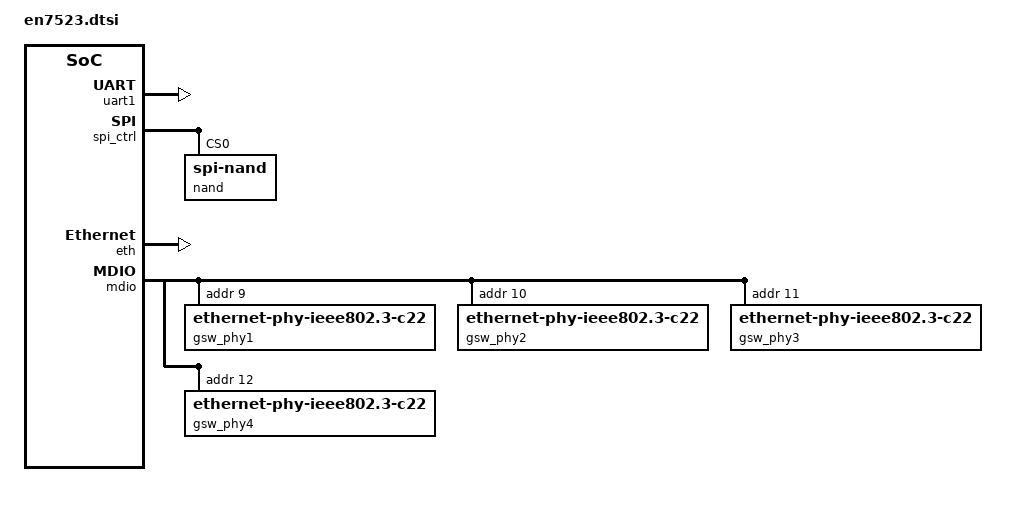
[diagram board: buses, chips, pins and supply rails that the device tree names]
// SPDX-License-Identifier: (GPL-2.0-only OR BSD-2-Clause)

#include <dt-bindings/interrupt-controller/irq.h>
#include <dt-bindings/interrupt-controller/arm-gic.h>
#include <dt-bindings/gpio/gpio.h>
#include <dt-bindings/clock/en7523-clk.h>
#include <dt-bindings/leds/common.h>

/ {
	interrupt-parent = <&gic>;
	#address-cells = <1>;
	#size-cells = <1>;

	reserved-memory {
		#address-cells = <1>;
		#size-cells = <1>;
		ranges;

		npu_binary@84000000 {
			no-map;
			reg = <0x84000000 0xA00000>;
		};

		npu_flag@84B0000 {
			no-map;
			reg = <0x84B00000 0x100000>;
		};

		npu_pkt@85000000 {
			no-map;
			reg = <0x85000000 0x1A00000>;
		};

		npu_phyaddr@86B00000 {
			no-map;
			reg = <0x86B00000 0x100000>;
		};

		npu_rxdesc@86D00000 {
			no-map;
			reg = <0x86D00000 0x100000>;
		};
	};

	psci {
		compatible = "arm,psci-0.2";
		method = "smc";
	};

	cpus {
		#address-cells = <1>;
		#size-cells = <0>;

		cpu-map {
			cluster0 {
				core0 {
					cpu = <&cpu0>;
				};
				core1 {
					cpu = <&cpu1>;
				};
			};
		};

		cpu0: cpu@0 {
			device_type = "cpu";
			compatible = "arm,cortex-a53";
			reg = <0x0>;
			enable-method = "psci";
			clock-frequency = <80000000>;
			next-level-cache = <&L2_0>;
		};

		cpu1: cpu@1 {
			device_type = "cpu";
			compatible = "arm,cortex-a53";
			reg = <0x1>;
			enable-method = "psci";
			clock-frequency = <80000000>;
			next-level-cache = <&L2_0>;
		};

		L2_0: l2-cache0 {
			compatible = "cache";
		};
	};

 	scu: system-controller@1fa20000 {
 		compatible = "airoha,en7523-scu";
 		reg = <0x1fa20000 0x4>,
 		      <0x1fb00000 0x4>;
 		#clock-cells = <1>;
 	};

	gic: interrupt-controller@9000000 {
		compatible = "arm,gic-v3";
		interrupt-controller;
		#interrupt-cells = <3>;
		#address-cells = <1>;
		#size-cells = <1>;
		reg = <0x09000000 0x20000>,
		      <0x09080000 0x80000>,
		      <0x09400000 0x2000>,
		      <0x09500000 0x2000>,
		      <0x09600000 0x20000>;
		interrupts = <GIC_PPI 9 IRQ_TYPE_LEVEL_LOW>;
	};

	timer {
		compatible = "arm,armv8-timer";
		interrupt-parent = <&gic>;
		interrupts = <GIC_PPI 13 IRQ_TYPE_LEVEL_LOW>,
			     <GIC_PPI 14 IRQ_TYPE_LEVEL_LOW>,
			     <GIC_PPI 11 IRQ_TYPE_LEVEL_LOW>,
			     <GIC_PPI 10 IRQ_TYPE_LEVEL_LOW>;
	};

	uart1: serial@1fbf0000 {
		compatible = "ns16550";
		reg = <0x1fbf0000 0x30>;
		reg-io-width = <4>;
		reg-shift = <2>;
		interrupts = <GIC_SPI 18 IRQ_TYPE_LEVEL_HIGH>;
		clock-frequency = <1843200>;
		status = "okay";
	};

	gpio0: gpio@1fbf0200 {
		compatible = "airoha,en7523-gpio";
		reg = <0x1fbf0204 0x4>,
		      <0x1fbf0200 0x4>,
		      <0x1fbf0220 0x4>,
		      <0x1fbf0214 0x4>;
		gpio-controller;
		#gpio-cells = <2>;
	};

	gpio1: gpio@1fbf0270 {
		compatible = "airoha,en7523-gpio";
		reg = <0x1fbf0270 0x4>,
		      <0x1fbf0260 0x4>,
		      <0x1fbf0264 0x4>,
		      <0x1fbf0278 0x4>;
		gpio-controller;
		#gpio-cells = <2>;
	};

	pcie0: pcie@1fa91000 {
		compatible = "airoha,en7523-pcie", "mediatek,mt7622-pcie";
		device_type = "pci";
		reg = <0x1fa91000 0x1000>;
		reg-names = "port0";
		linux,pci-domain = <0>;
		#address-cells = <3>;
		#size-cells = <2>;
		interrupts = <GIC_SPI 39 IRQ_TYPE_LEVEL_HIGH>;
		interrupt-names = "pcie_irq";
		clocks = <&scu EN7523_CLK_PCIE>;
		clock-names = "sys_ck0";
		bus-range = <0x00 0xff>;
		ranges = <0x82000000 0 0x20000000  0x20000000  0 0x8000000>;
		status = "disabled";

		#interrupt-cells = <1>;
		interrupt-map-mask = <0 0 0 7>;
		interrupt-map = <0 0 0 1 &pcie_intc0 0>,
				<0 0 0 2 &pcie_intc0 1>,
				<0 0 0 3 &pcie_intc0 2>,
				<0 0 0 4 &pcie_intc0 3>;
		pcie_intc0: interrupt-controller {
			interrupt-controller;
			#address-cells = <0>;
			#interrupt-cells = <1>;
		};
	};

	pcie1: pcie@1fa92000 {
		compatible = "airoha,en7523-pcie", "mediatek,mt7622-pcie";
		device_type = "pci";
		reg = <0x1fa92000 0x1000>;
		reg-names = "port1";
		linux,pci-domain = <1>;
		#address-cells = <3>;
		#size-cells = <2>;
		interrupts = <GIC_SPI 40 IRQ_TYPE_LEVEL_HIGH>;
		interrupt-names = "pcie_irq";
		clocks = <&scu EN7523_CLK_PCIE>;
		clock-names = "sys_ck1";
		bus-range = <0x00 0xff>;
		ranges = <0x82000000 0 0x28000000  0x28000000  0 0x8000000>;
		status = "disabled";

		#interrupt-cells = <1>;
		interrupt-map-mask = <0 0 0 7>;
		interrupt-map = <0 0 0 1 &pcie_intc1 0>,
				<0 0 0 2 &pcie_intc1 1>,
				<0 0 0 3 &pcie_intc1 2>,
				<0 0 0 4 &pcie_intc1 3>;
		pcie_intc1: interrupt-controller {
			interrupt-controller;
			#address-cells = <0>;
			#interrupt-cells = <1>;
		};
	};

	spi_ctrl: spi_controller@1fa10000 {
		compatible = "airoha,en7523-spi";
		reg = <0x1fa10000 0x140>;
		#address-cells = <1>;
		#size-cells = <0>;
		spi-rx-bus-width = <2>;
		spi-tx-bus-width = <2>;

		nand: nand@0 {
			compatible = "spi-nand";
			reg = <0>;
			nand-ecc-engine = <&nand>;
		};
	};

	eth: ethernet@15100000 {
		compatible = "airoha,en7523-eth";
		reg = <0x1fb50000 0x2600>,	//FE + PPE
			  <0x1fb54000 0x2000>,	//QDMA1
			  <0x1fb56000 0x2000>,	//QDMA2
				<0x1FB00834 0x4>; //RST
		interrupts = <GIC_SPI 37 IRQ_TYPE_LEVEL_HIGH>, // QDMA LAN INT1 21+16
			     <GIC_SPI 55 IRQ_TYPE_LEVEL_HIGH>, // QDMA LAN INT2 39+16
			     <GIC_SPI 56 IRQ_TYPE_LEVEL_HIGH>, // QDMA LAN INT3 40+16
			     <GIC_SPI 57 IRQ_TYPE_LEVEL_HIGH>, // QDMA LAN INT4 41+16
			     <GIC_SPI 38 IRQ_TYPE_LEVEL_HIGH>, // QDMA WAN INT1 22+16
			     <GIC_SPI 58 IRQ_TYPE_LEVEL_HIGH>, // QDMA WAN INT2 42+16
			     <GIC_SPI 59 IRQ_TYPE_LEVEL_HIGH>, // QDMA WAN INT3 43+16
			     <GIC_SPI 60 IRQ_TYPE_LEVEL_HIGH>, // QDMA WAN INT4 44+16
			     <GIC_SPI 49 IRQ_TYPE_LEVEL_HIGH>, // FE ERROR INTR 33+16
			     <GIC_SPI 64 IRQ_TYPE_LEVEL_HIGH>; // PDMA INTR 48+16
		#reset-cells = <1>;
		#address-cells = <1>;
		#size-cells = <0>;

		gmac0: mac@0 {
			compatible = "mediatek,eth-mac";
			reg = <0>;
			phy-mode = "internal";

			fixed-link {
				speed = <1000>;
				full-duplex;
				pause;
			};
		};
	};

	hsmac0: mac@0 {
		compatible = "airoha,xsi-mac";
		reg = <0x1fa60000 0x210>;	// AE/(PON)
		status = "disabled";
	};

	hsmac1: mac@1 {
		compatible = "airoha,xsi-mac";
		reg = <0x1fa70000 0x210>;	// PCIE0
		status = "disabled";
	};

	hsmac2: mac@2 {
		compatible = "airoha,xsi-mac";
		reg = <0x1fa71000 0x210>;	// PCIE1
		status = "disabled";
	};

	hsmac3: mac@3 {
		compatible = "airoha,xsi-mac";
		reg = <0x1fa80000 0x210>;	// USB_BASE
		status = "disabled";
	};

	ethrst: reset-controller {
		compatible = "ti,syscon-reset";
		#reset-cells = <1>;
	};


	switch1: switch@1fb58000 {
		#address-cells = <1>;
		#size-cells = <1>;
		compatible = "airoha,en7523-switch";
		reg = <0x1fb58000 0x8000>;
		interrupt-controller;
		#interrupt-cells = <1>;
		interrupt-parent = <&gic>;
		interrupts = <GIC_SPI 209 IRQ_TYPE_LEVEL_HIGH>;
		resets = <&ethrst 0>;

		ports {
			#address-cells = <1>;
			#size-cells = <0>;

			gsw_port1: port@1 {
				reg = <1>;
				label = "lan1";
				phy-mode = "internal";
				phy-handle = <&gsw_phy1>;
			};

			gsw_port2: port@2 {
				reg = <2>;
				label = "lan2";
				phy-mode = "internal";
				phy-handle = <&gsw_phy2>;
			};

			gsw_port3: port@3 {
				reg = <3>;
				label = "lan3";
				phy-mode = "internal";
				phy-handle = <&gsw_phy3>;
			};

			gsw_port4: port@4 {
				reg = <4>;
				label = "lan4";
				phy-mode = "internal";
				phy-handle = <&gsw_phy4>;
			};

			port@6 {
				reg = <6>;
				label = "cpu";
				ethernet = <&gmac0>;
				phy-mode = "internal";

				fixed-link {
					speed = <1000>;
					full-duplex;
					pause;
				};
			};
		};

		mdio {
			#address-cells = <1>;
			#size-cells = <0>;

			gsw_phy1: ethernet-phy@1 {
				compatible = "ethernet-phy-ieee802.3-c22";
				reg = <9>;
				phy-mode = "internal";

				leds {
					#address-cells = <1>;
					#size-cells = <0>;

					gsw_phy1_led0: gsw-phy1-led0@0 {
						reg = <0>;
						function = LED_FUNCTION_LAN;
						status = "disabled";
					};

					gsw_phy1_led1: gsw-phy1-led1@1 {
						reg = <1>;
						function = LED_FUNCTION_LAN;
						status = "disabled";
					};
				};
			};

			gsw_phy2: ethernet-phy@2 {
				compatible = "ethernet-phy-ieee802.3-c22";
				reg = <10>;
				phy-mode = "internal";

				leds {
					#address-cells = <1>;
					#size-cells = <0>;

					gsw_phy2_led0: gsw-phy2-led0@0 {
						reg = <0>;
						function = LED_FUNCTION_LAN;
						status = "disabled";
					};

					gsw_phy2_led1: gsw-phy2-led1@1 {
						reg = <1>;
						function = LED_FUNCTION_LAN;
						status = "disabled";
					};
				};
			};

			gsw_phy3: ethernet-phy@3 {
				compatible = "ethernet-phy-ieee802.3-c22";
				reg = <11>;
				phy-mode = "internal";

				leds {
					#address-cells = <1>;
					#size-cells = <0>;

					gsw_phy3_led0: gsw-phy3-led0@0 {
						reg = <0>;
						function = LED_FUNCTION_LAN;
						status = "disabled";
					};

					gsw_phy3_led1: gsw-phy3-led1@1 {
						reg = <1>;
						function = LED_FUNCTION_LAN;
						status = "disabled";
					};
				};
			};
			
			gsw_phy4: ethernet-phy@4 {
				compatible = "ethernet-phy-ieee802.3-c22";
				reg = <12>;
				phy-mode = "internal";

				leds {
					#address-cells = <1>;
					#size-cells = <0>;

					gsw_phy4_led0: gsw-phy4-led0@0 {
						reg = <0>;
						function = LED_FUNCTION_LAN;
						status = "disabled";
					};

					gsw_phy4_led1: gsw-phy4-led1@1 {
						reg = <1>;
						function = LED_FUNCTION_LAN;
						status = "disabled";
					};
				};
			};

		};
	};
};
